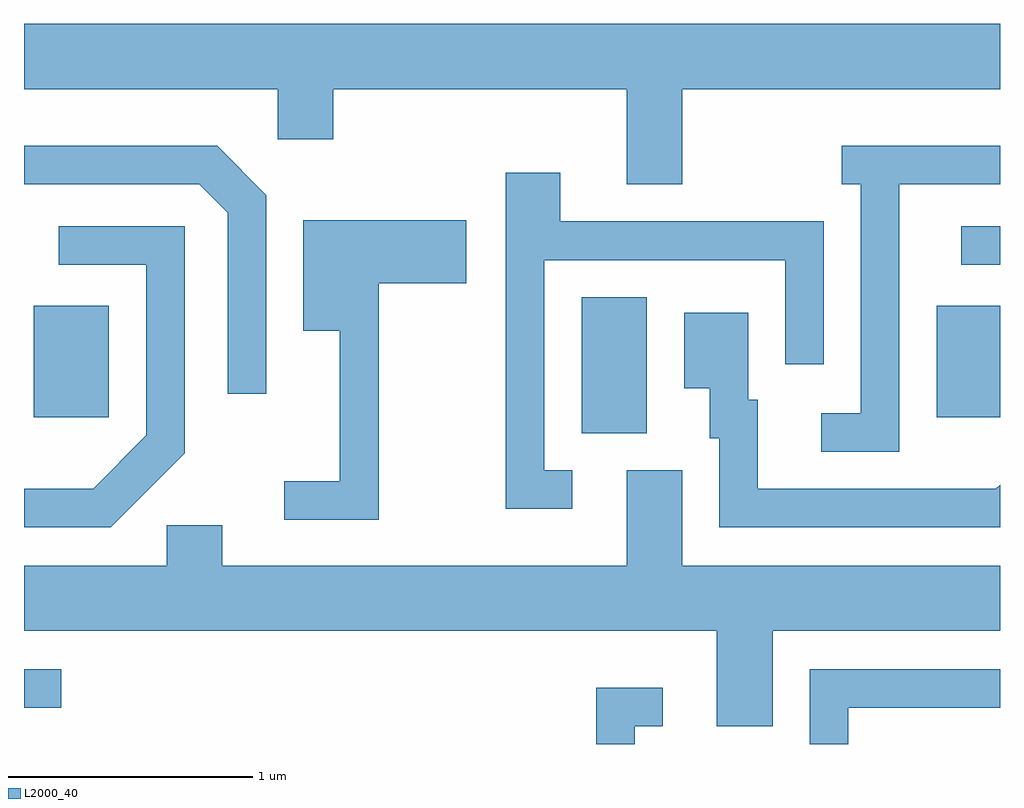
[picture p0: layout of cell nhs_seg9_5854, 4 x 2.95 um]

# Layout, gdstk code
import gdstk
lib = gdstk.Library(unit=1e-6, precision=1e-09)
def R(c, l, rs):  # rectangles x0, y0, x1, y1
    for r in rs: c.add(gdstk.rectangle(r[:2], r[2:], *l))
def P(c, l, *ps):  # polygons
    for p in ps: c.add(gdstk.Polygon(p, *l))
L2000_40 = (2000, 40)

nhs_seg9_5854 = lib.new_cell('nhs_seg9_5854')
R(nhs_seg9_5854, L2000_40, [(357.611,2022.581,357.763,2022.739), (359.896,2023.706,360.164,2024.264), (357.651,2023.771,357.959,2024.229), (361.351,2023.771,361.611,2024.229), (361.453,2024.396,361.611,2024.554)])
P(nhs_seg9_5854, L2000_40, [(360.309,2025.116),(361.611,2025.116),(361.611,2025.384),(357.611,2025.384),(357.611,2025.116),(358.651,2025.116),(358.651,2024.911),(358.879,2024.911),(358.879,2025.116),(360.081,2025.116),(360.081,2024.726),(360.309,2024.726)],
  [(358.604,2024.682),(358.402,2024.884),(357.611,2024.884),(357.611,2024.726),(358.329,2024.726),(358.446,2024.609),(358.446,2023.868),(358.604,2023.868)],
  [(361.199,2024.726),(361.611,2024.726),(361.611,2024.884),(360.963,2024.884),(360.963,2024.726),(361.041,2024.726),(361.041,2023.789),(360.878,2023.789),(360.878,2023.631),(361.199,2023.631)],
  [(359.858,2023.554),(359.744,2023.554),(359.744,2024.416),(360.731,2024.416),(360.731,2023.988),(360.889,2023.988),(360.889,2024.574),(359.809,2024.574),(359.809,2024.774),(359.586,2024.774),(359.586,2023.396),(359.858,2023.396)],
  [(359.064,2024.321),(359.424,2024.321),(359.424,2024.579),(358.756,2024.579),(358.756,2024.126),(358.906,2024.126),(358.906,2023.509),(358.678,2023.509),(358.678,2023.351),(359.064,2023.351)],
  [(358.269,2023.624),(358.269,2024.554),(357.753,2024.554),(357.753,2024.396),(358.111,2024.396),(358.111,2023.697),(357.894,2023.479),(357.611,2023.479),(357.611,2023.321),(357.967,2023.321)],
  [(361.611,2023.496),(361.594,2023.479),(360.619,2023.479),(360.619,2023.844),(360.579,2023.844),(360.579,2024.199),(360.316,2024.199),(360.316,2023.891),(360.421,2023.891),(360.421,2023.686),(360.461,2023.686),(360.461,2023.321),(361.611,2023.321)],
  [(360.679,2022.896),(361.611,2022.896),(361.611,2023.164),(360.309,2023.164),(360.309,2023.554),(360.081,2023.554),(360.081,2023.164),(358.424,2023.164),(358.424,2023.329),(358.196,2023.329),(358.196,2023.164),(357.611,2023.164),(357.611,2022.896),(360.451,2022.896),(360.451,2022.506),(360.679,2022.506)],
  [(360.989,2022.581),(361.611,2022.581),(361.611,2022.739),(360.831,2022.739),(360.831,2022.432),(360.989,2022.432)],
  [(360.114,2022.506),(360.228,2022.506),(360.228,2022.664),(359.956,2022.664),(359.956,2022.432),(360.114,2022.432)])

lib.write_gds('nhs_seg9_5854.gds')
